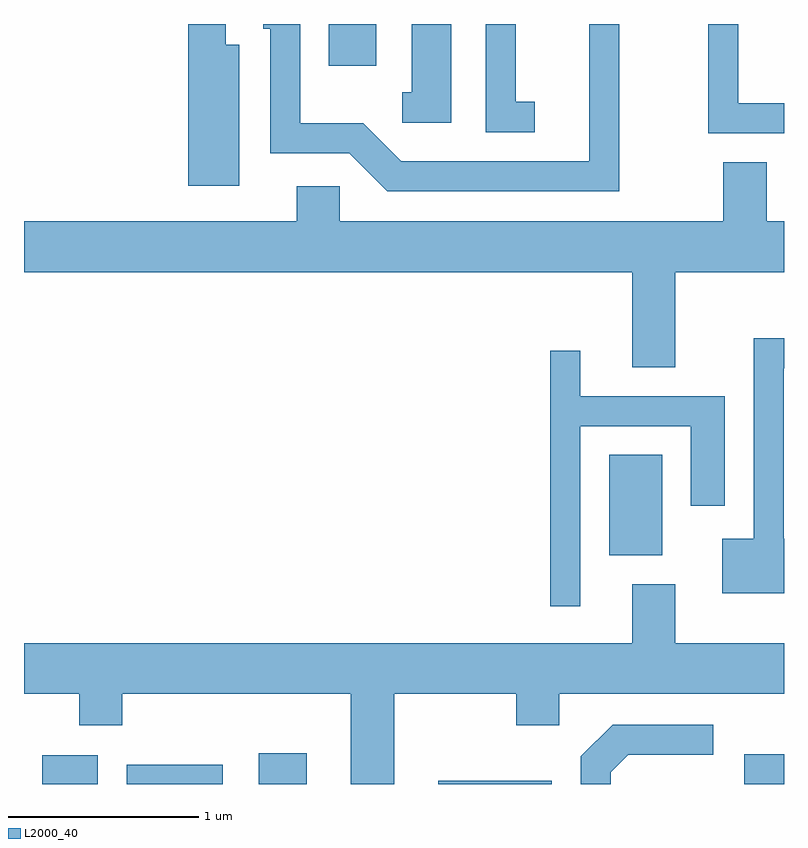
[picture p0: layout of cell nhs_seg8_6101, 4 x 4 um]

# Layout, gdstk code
import gdstk
lib = gdstk.Library(unit=1e-6, precision=1e-09)
def R(c, l, rs):  # rectangles x0, y0, x1, y1
    for r in rs: c.add(gdstk.rectangle(r[:2], r[2:], *l))
def P(c, l, *ps):  # polygons
    for p in ps: c.add(gdstk.Polygon(p, *l))
L2000_40 = (2000, 40)

nhs_seg8_6101 = lib.new_cell('nhs_seg8_6101')
R(nhs_seg8_6101, L2000_40, [(367.706,1880.342,367.999,1880.494), (368.151,1880.342,368.658,1880.444), (368.846,1880.342,369.099,1880.504), (369.791,1880.342,370.389,1880.359), (371.401,1880.342,371.611,1880.499), (370.691,1881.546,370.969,1882.074), (369.216,1884.121,369.464,1884.342)])
P(nhs_seg8_6101, L2000_40, [(371.611,1883.924),(371.369,1883.924),(371.369,1884.342),(371.211,1884.342),(371.211,1883.766),(371.611,1883.766)],
  [(370.298,1883.934),(370.199,1883.934),(370.199,1884.342),(370.041,1884.342),(370.041,1883.771),(370.298,1883.771)],
  [(369.859,1884.342),(369.651,1884.342),(369.651,1883.984),(369.603,1883.984),(369.603,1883.821),(369.859,1883.821)],
  [(368.744,1884.234),(368.674,1884.234),(368.674,1884.342),(368.476,1884.342),(368.476,1883.491),(368.744,1883.491)],
  [(370.744,1884.342),(370.586,1884.342),(370.586,1883.619),(369.597,1883.619),(369.397,1883.819),(369.064,1883.819),(369.064,1884.342),(368.871,1884.342),(368.871,1884.316),(368.906,1884.316),(368.906,1883.661),(369.324,1883.661),(369.524,1883.461),(370.744,1883.461)],
  [(371.039,1883.036),(371.611,1883.036),(371.611,1883.304),(371.519,1883.304),(371.519,1883.614),(371.291,1883.614),(371.291,1883.304),(369.274,1883.304),(369.274,1883.489),(369.046,1883.489),(369.046,1883.304),(367.611,1883.304),(367.611,1883.036),(370.811,1883.036),(370.811,1882.536),(371.039,1882.536)],
  [(371.611,1881.634),(371.609,1881.634),(371.609,1882.531),(371.611,1882.531),(371.611,1882.689),(371.451,1882.689),(371.451,1881.634),(371.286,1881.634),(371.286,1881.346),(371.611,1881.346)],
  [(370.539,1882.226),(371.121,1882.226),(371.121,1881.806),(371.299,1881.806),(371.299,1882.384),(370.539,1882.384),(370.539,1882.623),(370.381,1882.623),(370.381,1881.278),(370.539,1881.278)],
  [(369.559,1880.816),(370.201,1880.816),(370.201,1880.651),(370.429,1880.651),(370.429,1880.816),(371.611,1880.816),(371.611,1881.084),(371.039,1881.084),(371.039,1881.394),(370.811,1881.394),(370.811,1881.084),(367.611,1881.084),(367.611,1880.816),(367.901,1880.816),(367.901,1880.651),(368.129,1880.651),(368.129,1880.816),(369.331,1880.816),(369.331,1880.342),(369.559,1880.342)],
  [(370.699,1880.404),(370.792,1880.496),(371.238,1880.496),(371.238,1880.654),(370.709,1880.654),(370.541,1880.487),(370.541,1880.342),(370.699,1880.342)])

lib.write_gds('nhs_seg8_6101.gds')
